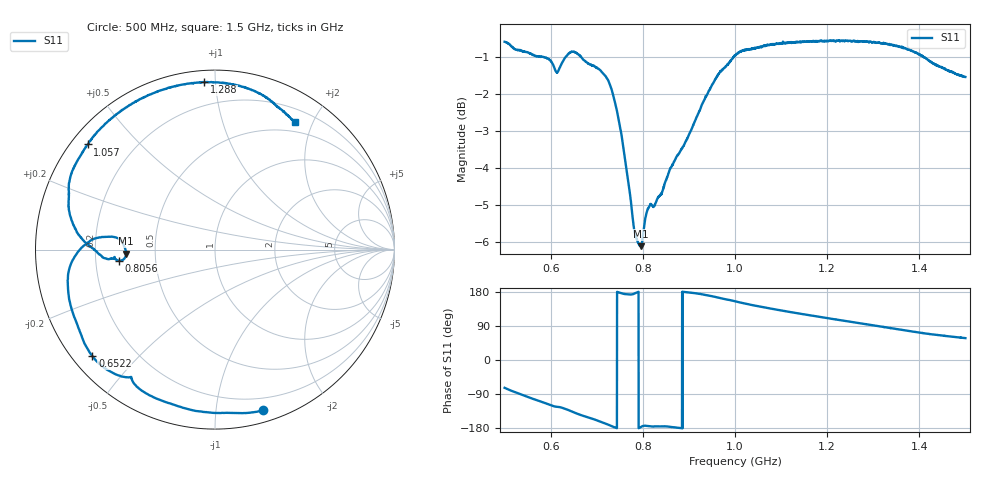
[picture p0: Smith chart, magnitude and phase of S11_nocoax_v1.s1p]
# HZ S RI R 50
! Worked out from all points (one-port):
!   3201 points, 500 MHz to 1.5 GHz, reference 50 ohm
!   lowest |S11| = -6.1 dB at 795.3 MHz (marker M1), VSWR 2.96, Z = 16.9 - j1.05 ohm
!   |S11| at or under -10 dB: nowhere
!   S11 on the Smith chart (normalised r, x): 500 MHz: 0.09, -1.34; 652.2 MHz: 0.06, -0.37; 805.6 MHz: 0.30, -0.05; 1.057 GHz: 0.05, +0.36; 1.288 GHz: 0.06, +0.93; 1.5 GHz: 0.37, +1.75
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5e8  0.2671 -0.8957
5.525e8  -0.1343 -0.8928
5.99375e8  -0.4259 -0.7723
6.1125e8  -0.4656 -0.7137
6.25e8  -0.5173 -0.7077
6.521875e8  -0.6827 -0.5939
6.76875e8  -0.7593 -0.4409
7.153125e8  -0.8194 -0.2059
7.3125e8  -0.8047 -0.0849
7.5e8  -0.719 0.0303
7.60625e8  -0.6491 0.0665
7.734375e8  -0.5691 0.0715
7.834375e8  -0.5124 0.033
7.953125e8  -0.4947 -0.0235
8.05625e8  -0.5375 -0.0618
8.5e8  -0.6056 -0.0497
8.75e8  -0.6562 -0.0149
9.26875e8  -0.7603 0.0836
9.625e8  -0.8132 0.2178
1e9  -0.8107 0.378
1.056562e9  -0.7084 0.5857
1.125e9  -0.5415 0.7592
1.1875e9  -0.3666 0.8622
1.25e9  -0.1797 0.9198
1.288438e9  -0.0608 0.9328
1.375e9  0.2041 0.8888
1.423438e9  0.3258 0.8175
1.5e9  0.4473 0.7086
